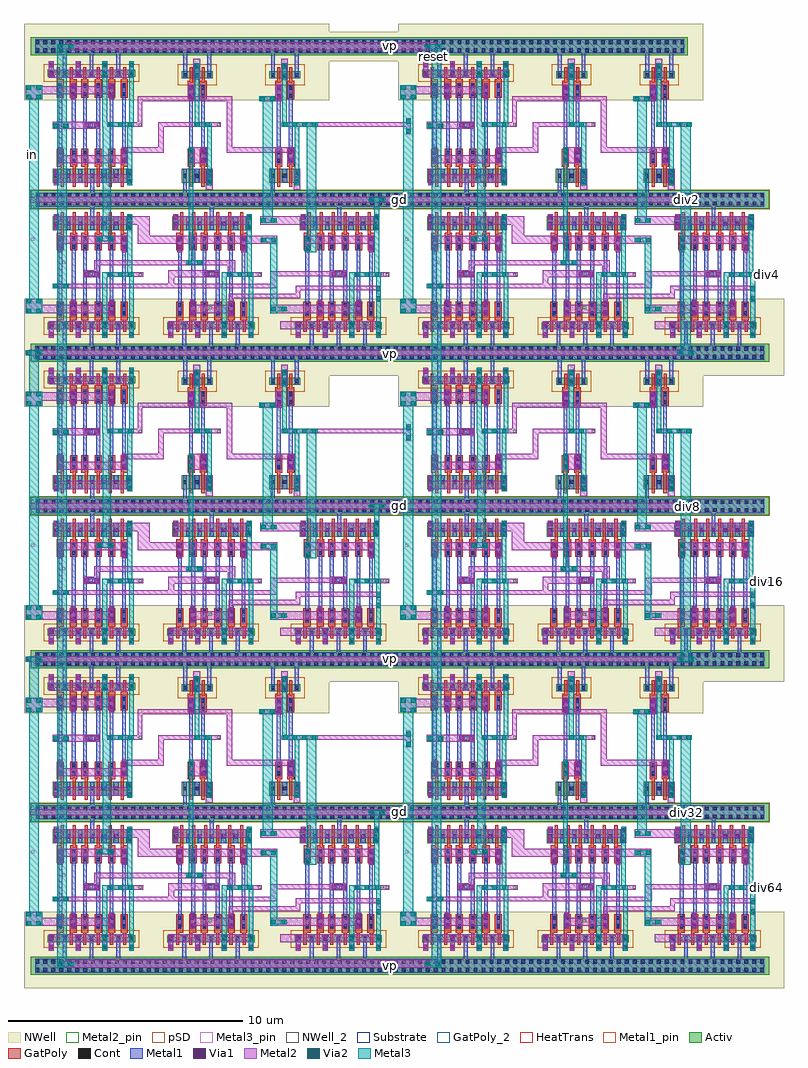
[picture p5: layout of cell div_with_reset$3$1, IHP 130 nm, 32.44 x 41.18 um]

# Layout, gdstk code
from math import pi, radians
import gdstk
lib = gdstk.Library(unit=1e-6, precision=1e-09)
def R(c, l, rs):  # rectangles x0, y0, x1, y1
    for r in rs: c.add(gdstk.rectangle(r[:2], r[2:], *l))
def A(c, l, x, y, w, h, nx, ny, dx, dy):  # array of equal rectangles
    R(c, l, [(x+i*dx, y+j*dy, x+i*dx+w, y+j*dy+h) for i in range(nx) for j in range(ny)])
Activ = (1, 0)
GatPoly = (5, 0)
GatPoly_2 = (5, 2)
Cont = (6, 0)
Metal1 = (8, 0)
Metal1_pin = (8, 2)
Metal2 = (10, 0)
Metal2_pin = (10, 2)
pSD = (14, 0)
Via1 = (19, 0)
Via2 = (29, 0)
Metal3 = (30, 0)
Metal3_pin = (30, 2)
NWell = (31, 0)
NWell_2 = (31, 2)
Substrate = (40, 0)
HeatTrans = (51, 0)

ntap1_38_2 = lib.new_cell('ntap1$38$2')
R(ntap1_38_2, Activ, [(0,0,7.8,0.78)])
A(ntap1_38_2, Cont, 0.08, 0.14, 0.16, 0.16, 23, 2, 0.34, 0.34)
R(ntap1_38_2, Metal1, [(0.08,0.09,7.72,0.69)])
R(ntap1_38_2, Metal1_pin, [(0.08,0.09,7.72,0.69), (0.08,0.14,7.72,0.64)])
R(ntap1_38_2, NWell, [(-0.24,-0.24,8.04,1.02), (0,0,7.8,0.78)])
R(ntap1_38_2, NWell_2, [(0,0,7.8,0.78)])
ntap1_38_2.add(gdstk.Label('well', (3.9,0.01), layer=63, texttype=0))
ntap1_38_2.add(gdstk.Label('well', (3.9,0.01), layer=31, texttype=0))

ptap1_8_3 = lib.new_cell('ptap1$8$3')
R(ptap1_8_3, Activ, [(0,0,7.8,0.78)])
A(ptap1_8_3, Cont, 0.08, 0.14, 0.16, 0.16, 23, 2, 0.34, 0.34)
R(ptap1_8_3, Metal1, [(0.08,0.09,7.72,0.69), (0.08,0.14,7.72,0.64)])
R(ptap1_8_3, Metal1_pin, [(0.08,0.14,7.72,0.64)])
R(ptap1_8_3, pSD, [(-0.03,-0.03,7.83,0.81)])
R(ptap1_8_3, Substrate, [(0,0,7.8,0.78)])
ptap1_8_3.add(gdstk.Label('sub!', (3.9,0.01), layer=63, texttype=0))
ptap1_8_3.add(gdstk.Label('sub!', (3.9,0.01), layer=40, texttype=0))

via_6_10_4 = lib.new_cell('Via$6$10$4')
R(via_6_10_4, Metal1, [(-0.105,-0.35,0.105,0.35)])
R(via_6_10_4, Metal2, [(-0.1,-0.35,0.1,0.35)])
R(via_6_10_4, Via1, [(-0.095,-0.3,0.095,-0.11), (-0.095,0.11,0.095,0.3)])

via_1_1_1_1 = lib.new_cell('Via$1$1$1$1')
R(via_1_1_1_1, Metal2, [(-0.1,-0.555,0.1,0.555)])
A(via_1_1_1_1, Via2, -0.095, -0.505, 0.19, 0.19, 1, 3, 0, 0.41)
R(via_1_1_1_1, Metal3, [(-0.1,-0.555,0.1,0.555)])

nmos_2_3_1 = lib.new_cell('nmos$2$3$1')
A(nmos_2_3_1, Activ, 0, 0, 0.3, 0.3, 7, 1, 0.51, 0)
R(nmos_2_3_1, Activ, [(0,0,3.36,0.6)])
A(nmos_2_3_1, GatPoly, 0.34, -0.18, 0.13, 0.96, 6, 1, 0.51, 0)
R(nmos_2_3_1, GatPoly_2, [(0.34,-0.18,0.47,0.78)])
A(nmos_2_3_1, Cont, 0.07, 0.22, 0.16, 0.16, 7, 1, 0.51, 0)
A(nmos_2_3_1, Metal1, 0.07, 0, 0.16, 0.6, 7, 1, 0.51, 0)
R(nmos_2_3_1, Metal1_pin, [(0.07,0,0.23,0.6), (0.58,0,0.74,0.6)])
A(nmos_2_3_1, HeatTrans, 0.34, -0.18, 0.13, 0.96, 6, 1, 0.51, 0)
nmos_2_3_1.add(gdstk.Label('nmos', (0.405,0.3), layer=63, texttype=0))
nmos_2_3_1.add(gdstk.Label('nmos', (0.405,0.3), layer=51, texttype=0))
nmos_2_3_1.add(gdstk.Label('nmos', (0.915,0.3), layer=51, texttype=0))
nmos_2_3_1.add(gdstk.Label('nmos', (1.425,0.3), layer=51, texttype=0))
nmos_2_3_1.add(gdstk.Label('nmos', (1.935,0.3), layer=51, texttype=0))
nmos_2_3_1.add(gdstk.Label('nmos', (2.445,0.3), layer=51, texttype=0))
nmos_2_3_1.add(gdstk.Label('nmos', (2.955,0.3), layer=51, texttype=0))

ntap1_6_1_1 = lib.new_cell('ntap1$6$1$1')
R(ntap1_6_1_1, Activ, [(0,0,5,0.78)])
A(ntap1_6_1_1, Cont, 0.21, 0.14, 0.16, 0.16, 14, 2, 0.34, 0.34)
R(ntap1_6_1_1, Metal1, [(0.21,0.09,4.79,0.69)])
R(ntap1_6_1_1, Metal1_pin, [(0.21,0.09,4.79,0.69), (0.21,0.14,4.79,0.64)])
R(ntap1_6_1_1, NWell, [(-0.24,-0.24,5.24,1.02), (0,0,5,0.78)])
R(ntap1_6_1_1, NWell_2, [(0,0,5,0.78)])
ntap1_6_1_1.add(gdstk.Label('well', (2.5,0.01), layer=63, texttype=0))
ntap1_6_1_1.add(gdstk.Label('well', (2.5,0.01), layer=31, texttype=0))

ptap1_2_5_1 = lib.new_cell('ptap1$2$5$1')
R(ptap1_2_5_1, Activ, [(0,0,5,0.78)])
A(ptap1_2_5_1, Cont, 0.21, 0.14, 0.16, 0.16, 14, 2, 0.34, 0.34)
R(ptap1_2_5_1, Metal1, [(0.21,0.09,4.79,0.69), (0.21,0.14,4.79,0.64)])
R(ptap1_2_5_1, Metal1_pin, [(0.21,0.14,4.79,0.64)])
R(ptap1_2_5_1, pSD, [(-0.03,-0.03,5.03,0.81)])
R(ptap1_2_5_1, Substrate, [(0,0,5,0.78)])
ptap1_2_5_1.add(gdstk.Label('sub!', (2.5,0.01), layer=63, texttype=0))
ptap1_2_5_1.add(gdstk.Label('sub!', (2.5,0.01), layer=40, texttype=0))

via_2_1_1_1 = lib.new_cell('Via$2$1$1$1')
R(via_2_1_1_1, Metal2, [(-0.1,-0.35,0.1,0.35)])
R(via_2_1_1_1, Via2, [(-0.095,-0.3,0.095,-0.11), (-0.095,0.11,0.095,0.3)])
R(via_2_1_1_1, Metal3, [(-0.1,-0.35,0.1,0.35)])

via_3_1_1_1 = lib.new_cell('Via$3$1$1$1')
R(via_3_1_1_1, GatPoly, [(-0.32,-0.15,0.32,0.15)])
R(via_3_1_1_1, Cont, [(-0.25,-0.08,-0.09,0.08), (0.09,-0.08,0.25,0.08)])
R(via_3_1_1_1, Metal1, [(-0.3,-0.08,0.3,0.08)])

pmos_2_4_2 = lib.new_cell('pmos$2$4$2')
A(pmos_2_4_2, Activ, 0, 0, 0.3, 0.3, 7, 1, 0.57, 0)
R(pmos_2_4_2, Activ, [(0,0.075,3.72,0.225)])
A(pmos_2_4_2, GatPoly, 0.37, -0.105, 0.13, 0.51, 6, 1, 0.57, 0)
R(pmos_2_4_2, GatPoly, [(0.37,-0.105,0.5,0.405)])
A(pmos_2_4_2, Cont, 0.07, 0.07, 0.16, 0.16, 7, 1, 0.57, 0)
A(pmos_2_4_2, Metal1, 0.64, 0.02, 0.16, 0.26, 6, 1, 0.57, 0)
R(pmos_2_4_2, Metal1, [(0.07,0.02,0.23,0.28), (0.07,0.02,0.23,0.28), (0.64,0.02,0.8,0.28)])
R(pmos_2_4_2, pSD, [(-0.18,-0.225,3.9,0.525)])
R(pmos_2_4_2, NWell, [(-0.31,-0.31,4.03,0.61)])
A(pmos_2_4_2, HeatTrans, 0.37, -0.105, 0.13, 0.51, 6, 1, 0.57, 0)
pmos_2_4_2.add(gdstk.Label('pmos', (0.435,0.15), layer=63, texttype=0))
pmos_2_4_2.add(gdstk.Label('pmos', (0.435,0.15), layer=51, texttype=0))
pmos_2_4_2.add(gdstk.Label('pmos', (1.005,0.15), layer=51, texttype=0))
pmos_2_4_2.add(gdstk.Label('pmos', (1.575,0.15), layer=51, texttype=0))
pmos_2_4_2.add(gdstk.Label('pmos', (2.145,0.15), layer=51, texttype=0))
pmos_2_4_2.add(gdstk.Label('pmos', (2.715,0.15), layer=51, texttype=0))
pmos_2_4_2.add(gdstk.Label('pmos', (3.285,0.15), layer=51, texttype=0))

nand_3in_nmosx3_1_1_2 = lib.new_cell('NAND_3in_nmosx3$1$1$2')
A(nand_3in_nmosx3_1_1_2, GatPoly, -0.54, -2.93, 0.3, 0.11, 3, 1, 0.57, 0)
A(nand_3in_nmosx3_1_1_2, GatPoly, -0.54, 0.655, 0.3, 0.15, 3, 1, 0.57, 0)
R(nand_3in_nmosx3_1_1_2, GatPoly, [(-1.585,-2.93,-1.285,-2.82), (-1.02,-2.93,-0.72,-2.82), (1.135,-2.93,1.435,-2.82), (-1.6,0.655,-1.3,0.805), (-1.035,0.655,-0.735,0.805), (1.13,0.655,1.43,0.805), (0.68,0.755,0.81,0.845), (1.22,0.755,1.35,0.845)])
R(nand_3in_nmosx3_1_1_2, Metal1, [(-0.155,-4.075,0.005,-3.295), (0.31,-3.6,0.55,-3.34), (0.82,-3.6,1.06,-3.34), (0.31,-3.36,0.55,-3.02), (0.82,-3.36,1.06,-3.02), (-1.515,-2.44,-1.355,0.56), (-0.95,-2.44,-0.79,0.05), (0.67,-2.44,0.83,0.05), (-0.47,-2.38,-0.31,0.175), (0.1,-2.38,0.26,0.245), (1.2,-2.21,1.36,-1.27), (1.2,-1.31,1.36,-0.37), (1.2,-0.455,1.36,0.075), (0.95,1.005,1.11,2.015), (-1.33,1.07,-1.17,2.065), (-0.19,1.075,-0.03,2.065)])
R(nand_3in_nmosx3_1_1_2, Metal1_pin, [(0.44,-4.33,0.57,-4.2), (0.74,2.225,0.87,2.355)])
R(nand_3in_nmosx3_1_1_2, Metal2, [(-1.685,-3.62,1.605,-3.27), (-1.475,-2.795,1.395,-2.445), (-0.45,-1.315,0.25,-1.015), (1.62,-1.24,2.05,-1.04), (-0.895,0.155,0.83,0.505), (-1.925,0.855,1.7,1.205)])
R(nand_3in_nmosx3_1_1_2, Metal2_pin, [(-1.495,-2.31,-1.365,-2.18), (1.225,-2.31,1.355,-2.18), (-0.175,-1.235,-0.045,-1.105), (1.905,-1.205,2.035,-1.075), (-0.955,0.005,-0.825,0.135), (-0.955,0.005,-0.825,0.135), (0.69,0.005,0.82,0.135), (0.69,0.005,0.82,0.135)])
R(nand_3in_nmosx3_1_1_2, Metal3, [(1.425,-3.03,1.625,-2.83), (1.425,-2.83,1.625,-2.425), (1.425,-2.5,1.625,-1.15), (0.36,-1.24,0.56,-0.97), (0.38,-1.24,0.565,-1.04), (1.66,-1.24,1.7,-1.09), (1.5,-1.09,1.7,0.17), (0.36,-0.97,0.56,0.26), (1.5,0.045,1.7,1.02), (0.36,0.155,0.56,0.855)])
R(nand_3in_nmosx3_1_1_2, NWell, [(-2.99,-0.1,2.93,3.17)])
nand_3in_nmosx3_1_1_2.add(gdstk.Reference(via_6_10_4, (1.285,-2.45), rotation=pi))
nand_3in_nmosx3_1_1_2.add(gdstk.Reference(via_6_10_4, (0.75,0.285), rotation=pi))
nand_3in_nmosx3_1_1_2.add(gdstk.Reference(via_6_10_4, (0.46,1.205), rotation=pi))
nand_3in_nmosx3_1_1_2.add(gdstk.Reference(via_6_10_4, (1.6,1.205), rotation=pi))
nand_3in_nmosx3_1_1_2.add(gdstk.Reference(via_1_1_1_1, (1.12,-1.14), rotation=3*pi/2))
nand_3in_nmosx3_1_1_2.add(gdstk.Reference(nmos_2_3_1, (1.605,-3.02), rotation=pi))
nand_3in_nmosx3_1_1_2.add(gdstk.Reference(ntap1_6_1_1, (-2.71,1.81)))
nand_3in_nmosx3_1_1_2.add(gdstk.Reference(ptap1_2_5_1, (-2.7,-4.73)))
nand_3in_nmosx3_1_1_2.add(gdstk.Reference(via_2_1_1_1, (1.525,-3.37), rotation=pi))
nand_3in_nmosx3_1_1_2.add(gdstk.Reference(via_2_1_1_1, (0.46,1.205), rotation=pi))
nand_3in_nmosx3_1_1_2.add(gdstk.Reference(via_2_1_1_1, (1.6,1.205), rotation=pi))
nand_3in_nmosx3_1_1_2.add(gdstk.Reference(via_3_1_1_1, (0.75,-2.5), rotation=3*pi/2))
nand_3in_nmosx3_1_1_2.add(gdstk.Reference(via_3_1_1_1, (1.285,-2.5), rotation=3*pi/2))
nand_3in_nmosx3_1_1_2.add(gdstk.Reference(via_3_1_1_1, (0.75,0.335), rotation=3*pi/2))
nand_3in_nmosx3_1_1_2.add(gdstk.Reference(via_3_1_1_1, (1.28,0.335), rotation=3*pi/2))
nand_3in_nmosx3_1_1_2.add(gdstk.Reference(pmos_2_4_2, (1.75,1.205), rotation=pi))
nand_3in_nmosx3_1_1_2.add(gdstk.Reference(via_3_1_1_1, (0.18,0.335), rotation=3*pi/2))
nand_3in_nmosx3_1_1_2.add(gdstk.Reference(via_3_1_1_1, (0.18,-2.5), rotation=3*pi/2))
nand_3in_nmosx3_1_1_2.add(gdstk.Reference(via_3_1_1_1, (-0.39,0.335), rotation=3*pi/2))
nand_3in_nmosx3_1_1_2.add(gdstk.Reference(via_3_1_1_1, (-0.39,-2.5), rotation=3*pi/2))
nand_3in_nmosx3_1_1_2.add(gdstk.Reference(via_6_10_4, (-0.1,-1.165), rotation=3*pi/2))
nand_3in_nmosx3_1_1_2.add(gdstk.Reference(via_6_10_4, (-0.68,1.205), rotation=pi))
nand_3in_nmosx3_1_1_2.add(gdstk.Reference(via_6_10_4, (-1.825,1.205), rotation=pi))
nand_3in_nmosx3_1_1_2.add(gdstk.Reference(via_6_10_4, (0.75,0.285), rotation=pi))
nand_3in_nmosx3_1_1_2.add(gdstk.Reference(via_3_1_1_1, (0.75,0.335), rotation=3*pi/2))
nand_3in_nmosx3_1_1_2.add(gdstk.Reference(via_3_1_1_1, (-0.885,0.335), rotation=3*pi/2))
nand_3in_nmosx3_1_1_2.add(gdstk.Reference(via_6_10_4, (-0.895,0.285), rotation=pi))
nand_3in_nmosx3_1_1_2.add(gdstk.Reference(via_3_1_1_1, (-0.885,0.335), rotation=3*pi/2))
nand_3in_nmosx3_1_1_2.add(gdstk.Reference(via_6_10_4, (-0.895,0.285), rotation=pi))
nand_3in_nmosx3_1_1_2.add(gdstk.Reference(via_3_1_1_1, (-0.87,-2.5), rotation=3*pi/2))
nand_3in_nmosx3_1_1_2.add(gdstk.Reference(via_6_10_4, (-1.435,-2.45), rotation=pi))
nand_3in_nmosx3_1_1_2.add(gdstk.Reference(via_3_1_1_1, (-1.435,-2.5), rotation=3*pi/2))
nand_3in_nmosx3_1_1_2.add(gdstk.Reference(via_3_1_1_1, (-1.45,0.335), rotation=3*pi/2))
nand_3in_nmosx3_1_1_2.add(gdstk.Reference(via_6_10_4, (-1.61,-3.37), rotation=pi))
nand_3in_nmosx3_1_1_2.add(gdstk.Reference(via_6_10_4, (1.525,-3.37), rotation=pi))
nand_3in_nmosx3_1_1_2.add(gdstk.Label('GND', (0.505,-4.26), layer=8, texttype=25))
nand_3in_nmosx3_1_1_2.add(gdstk.Label('VP', (0.8,2.285), layer=8, texttype=25))
nand_3in_nmosx3_1_1_2.add(gdstk.Label('a', (-1.435,-2.25), layer=10, texttype=25))
nand_3in_nmosx3_1_1_2.add(gdstk.Label('a', (1.285,-2.25), layer=10, texttype=25))
nand_3in_nmosx3_1_1_2.add(gdstk.Label('b', (0.76,0.095), layer=10, texttype=25))
nand_3in_nmosx3_1_1_2.add(gdstk.Label('b', (-0.885,0.095), layer=10, texttype=25))
nand_3in_nmosx3_1_1_2.add(gdstk.Label('b', (-0.885,0.095), layer=10, texttype=25))
nand_3in_nmosx3_1_1_2.add(gdstk.Label('b', (0.76,0.095), layer=10, texttype=25))
nand_3in_nmosx3_1_1_2.add(gdstk.Label('c', (-0.11,-1.175), layer=10, texttype=25))
nand_3in_nmosx3_1_1_2.add(gdstk.Label('y', (1.97,-1.14), layer=10, texttype=25))

ptap1_5_1_1 = lib.new_cell('ptap1$5$1$1')
R(ptap1_5_1_1, Activ, [(0,0,1.7,0.78)])
A(ptap1_5_1_1, Cont, 0.09, 0.14, 0.16, 0.16, 5, 2, 0.34, 0.34)
R(ptap1_5_1_1, Metal1, [(0.09,0.09,1.61,0.69), (0.09,0.14,1.61,0.64)])
R(ptap1_5_1_1, Metal1_pin, [(0.09,0.14,1.61,0.64)])
R(ptap1_5_1_1, pSD, [(-0.03,-0.03,1.73,0.81)])
R(ptap1_5_1_1, Substrate, [(0,0,1.7,0.78)])
ptap1_5_1_1.add(gdstk.Label('sub!', (0.85,0.01), layer=63, texttype=0))
ptap1_5_1_1.add(gdstk.Label('sub!', (0.85,0.01), layer=40, texttype=0))

ntap1_2_10_1 = lib.new_cell('ntap1$2$10$1')
R(ntap1_2_10_1, Activ, [(0,0,1.7,0.78)])
A(ntap1_2_10_1, Cont, 0.09, 0.14, 0.16, 0.16, 5, 2, 0.34, 0.34)
R(ntap1_2_10_1, Metal1, [(0.09,0.09,1.61,0.69)])
R(ntap1_2_10_1, Metal1_pin, [(0.09,0.09,1.61,0.69), (0.09,0.14,1.61,0.64)])
R(ntap1_2_10_1, NWell, [(-0.24,-0.24,1.94,1.02), (0,0,1.7,0.78)])
R(ntap1_2_10_1, NWell_2, [(0,0,1.7,0.78)])
ntap1_2_10_1.add(gdstk.Label('well', (0.85,0.01), layer=63, texttype=0))
ntap1_2_10_1.add(gdstk.Label('well', (0.85,0.01), layer=31, texttype=0))

ntap1_9_1_1 = lib.new_cell('ntap1$9$1$1')
R(ntap1_9_1_1, Activ, [(0,0,2.4,0.78)])
A(ntap1_9_1_1, Cont, 0.1, 0.14, 0.16, 0.16, 7, 2, 0.34, 0.34)
R(ntap1_9_1_1, Metal1, [(0.1,0.09,2.3,0.69)])
R(ntap1_9_1_1, Metal1_pin, [(0.1,0.09,2.3,0.69), (0.1,0.14,2.3,0.64)])
R(ntap1_9_1_1, NWell, [(-0.24,-0.24,2.64,1.02), (0,0,2.4,0.78)])
R(ntap1_9_1_1, NWell_2, [(0,0,2.4,0.78)])
ntap1_9_1_1.add(gdstk.Label('well', (1.2,0.01), layer=63, texttype=0))
ntap1_9_1_1.add(gdstk.Label('well', (1.2,0.01), layer=31, texttype=0))

ntap1_7_1_2 = lib.new_cell('ntap1$7$1$2')
R(ntap1_7_1_2, Activ, [(0,0,2.5,0.78)])
A(ntap1_7_1_2, Cont, 0.15, 0.14, 0.16, 0.16, 7, 2, 0.34, 0.34)
R(ntap1_7_1_2, Metal1, [(0.15,0.09,2.35,0.69)])
R(ntap1_7_1_2, Metal1_pin, [(0.15,0.09,2.35,0.69), (0.15,0.14,2.35,0.64)])
R(ntap1_7_1_2, NWell, [(-0.24,-0.24,2.74,1.02), (0,0,2.5,0.78)])
R(ntap1_7_1_2, NWell_2, [(0,0,2.5,0.78)])
ntap1_7_1_2.add(gdstk.Label('well', (1.25,0.01), layer=63, texttype=0))
ntap1_7_1_2.add(gdstk.Label('well', (1.25,0.01), layer=31, texttype=0))

ptap1_4_2_1 = lib.new_cell('ptap1$4$2$1')
R(ptap1_4_2_1, Activ, [(0,0,2.5,0.78)])
A(ptap1_4_2_1, Cont, 0.15, 0.14, 0.16, 0.16, 7, 2, 0.34, 0.34)
R(ptap1_4_2_1, Metal1, [(0.15,0.09,2.35,0.69), (0.15,0.14,2.35,0.64)])
R(ptap1_4_2_1, Metal1_pin, [(0.15,0.14,2.35,0.64)])
R(ptap1_4_2_1, pSD, [(-0.03,-0.03,2.53,0.81)])
R(ptap1_4_2_1, Substrate, [(0,0,2.5,0.78)])
ptap1_4_2_1.add(gdstk.Label('sub!', (1.25,0.01), layer=63, texttype=0))
ptap1_4_2_1.add(gdstk.Label('sub!', (1.25,0.01), layer=40, texttype=0))

via_7_10_2 = lib.new_cell('Via$7$10$2')
R(via_7_10_2, Metal2, [(-0.1,-0.35,0.1,0.35)])
R(via_7_10_2, Via2, [(-0.095,-0.3,0.095,-0.11), (-0.095,0.11,0.095,0.3)])
R(via_7_10_2, Metal3, [(-0.1,-0.35,0.1,0.35)])

via_1_2_1_1 = lib.new_cell('Via$1$2$1$1')
R(via_1_2_1_1, Metal1, [(-0.105,-0.35,0.105,0.35)])
R(via_1_2_1_1, Metal2, [(-0.1,-0.35,0.1,0.35)])
R(via_1_2_1_1, Via1, [(-0.095,-0.3,0.095,-0.11), (-0.095,0.11,0.095,0.3)])

via_2_2_1_1 = lib.new_cell('Via$2$2$1$1')
R(via_2_2_1_1, GatPoly, [(-0.32,-0.15,0.32,0.15)])
R(via_2_2_1_1, Cont, [(-0.25,-0.08,-0.09,0.08), (0.09,-0.08,0.25,0.08)])
R(via_2_2_1_1, Metal1, [(-0.3,-0.08,0.3,0.08)])

pmos_3_3_1 = lib.new_cell('pmos$3$3$1')
A(pmos_3_3_1, Activ, 0, 0, 0.3, 0.3, 3, 1, 0.51, 0)
R(pmos_3_3_1, Activ, [(0,0,1.32,0.3)])
R(pmos_3_3_1, GatPoly, [(0.34,-0.18,0.47,0.48), (0.34,-0.18,0.47,0.48), (0.85,-0.18,0.98,0.48)])
A(pmos_3_3_1, Cont, 0.07, 0.07, 0.16, 0.16, 3, 1, 0.51, 0)
R(pmos_3_3_1, Metal1, [(0.07,0,0.23,0.3), (0.07,0,0.23,0.3), (0.58,0,0.74,0.3), (0.58,0,0.74,0.3), (1.09,0,1.25,0.3)])
R(pmos_3_3_1, pSD, [(-0.18,-0.3,1.5,0.6)])
R(pmos_3_3_1, NWell, [(-0.31,-0.31,1.63,0.61)])
R(pmos_3_3_1, HeatTrans, [(0.34,-0.18,0.47,0.48), (0.85,-0.18,0.98,0.48)])
pmos_3_3_1.add(gdstk.Label('pmos', (0.405,0.15), layer=63, texttype=0))
pmos_3_3_1.add(gdstk.Label('pmos', (0.405,0.15), layer=51, texttype=0))
pmos_3_3_1.add(gdstk.Label('pmos', (0.915,0.15), layer=51, texttype=0))

nmos_3_1_4 = lib.new_cell('nmos$3$1$4')
A(nmos_3_1_4, Activ, 0, 0, 0.3, 0.3, 3, 1, 0.51, 0)
R(nmos_3_1_4, Activ, [(0,0,1.32,0.6)])
R(nmos_3_1_4, GatPoly, [(0.34,-0.18,0.47,0.78), (0.85,-0.18,0.98,0.78)])
R(nmos_3_1_4, GatPoly_2, [(0.34,-0.18,0.47,0.78)])
A(nmos_3_1_4, Cont, 0.07, 0.22, 0.16, 0.16, 3, 1, 0.51, 0)
A(nmos_3_1_4, Metal1, 0.07, 0, 0.16, 0.6, 3, 1, 0.51, 0)
R(nmos_3_1_4, Metal1_pin, [(0.07,0,0.23,0.6), (0.58,0,0.74,0.6)])
R(nmos_3_1_4, HeatTrans, [(0.34,-0.18,0.47,0.78), (0.85,-0.18,0.98,0.78)])
nmos_3_1_4.add(gdstk.Label('nmos', (0.405,0.3), layer=63, texttype=0))
nmos_3_1_4.add(gdstk.Label('nmos', (0.405,0.3), layer=51, texttype=0))
nmos_3_1_4.add(gdstk.Label('nmos', (0.915,0.3), layer=51, texttype=0))

nand_2in_nmosx2_1_1_4 = lib.new_cell('NAND_2in_nmosx2$1$1$4')
R(nand_2in_nmosx2_1_1_4, GatPoly, [(0.63,-2.93,0.93,-2.82), (1.15,-2.93,1.45,-2.82), (0.645,0.58,0.945,0.73), (1.145,0.58,1.445,0.73), (0.725,0.68,0.855,0.77)])
R(nand_2in_nmosx2_1_1_4, Metal1, [(0.445,-4.32,0.605,-3.295), (0.915,-3.6,1.155,-3.34), (0.915,-3.36,1.155,-3.02), (0.7,-2.68,0.86,0.26), (1.215,-2.21,1.375,-1.27), (1.215,-1.31,1.375,-0.37), (1.215,-0.37,1.375,-0.01), (0.455,1.01,0.615,1.15), (0.455,1.115,0.615,1.99), (1.475,1.115,1.635,1.94)])
R(nand_2in_nmosx2_1_1_4, Metal1_pin, [(0.44,-4.32,0.57,-4.19), (0.4,2.15,0.53,2.28)])
R(nand_2in_nmosx2_1_1_4, Metal2, [(1.415,-3.92,1.705,-3.72), (1.415,-3.72,1.705,-3.02), (1.15,-2.8,1.45,-2.1), (1.62,-1.24,2.05,-1.04), (0.645,-0.14,0.945,0.56), (0.88,0.78,1.17,0.98), (0.88,0.98,1.17,1.68)])
R(nand_2in_nmosx2_1_1_4, Metal2_pin, [(1.24,-2.27,1.37,-2.14), (1.905,-1.205,2.035,-1.075), (0.735,-0.1,0.865,0.03)])
R(nand_2in_nmosx2_1_1_4, Metal3, [(1.465,-3.03,1.665,-2.83), (1.465,-2.905,1.665,-1.045), (0.93,-1.09,1.13,0.17), (0.93,0.1,1.13,0.62), (0.93,0.62,1.13,0.72), (0.93,0.71,1.13,0.87)])
R(nand_2in_nmosx2_1_1_4, NWell, [(-0.85,-0.1,2.93,3.17)])
nand_2in_nmosx2_1_1_4.add(gdstk.Reference(ntap1_7_1_2, (-0.23,1.81)))
nand_2in_nmosx2_1_1_4.add(gdstk.Reference(ptap1_4_2_1, (-0.22,-4.73)))
nand_2in_nmosx2_1_1_4.add(gdstk.Reference(via_7_10_2, (1.27,-1.14), rotation=3*pi/2))
nand_2in_nmosx2_1_1_4.add(gdstk.Reference(via_1_2_1_1, (1.565,-3.37), rotation=pi))
nand_2in_nmosx2_1_1_4.add(gdstk.Reference(via_1_2_1_1, (1.3,-2.45), rotation=pi))
nand_2in_nmosx2_1_1_4.add(gdstk.Reference(via_1_2_1_1, (0.795,0.21), rotation=pi))
nand_2in_nmosx2_1_1_4.add(gdstk.Reference(via_1_2_1_1, (1.03,1.13), rotation=pi))
nand_2in_nmosx2_1_1_4.add(gdstk.Reference(via_2_2_1_1, (1.3,-2.5), rotation=3*pi/2))
nand_2in_nmosx2_1_1_4.add(gdstk.Reference(via_2_2_1_1, (0.795,0.26), rotation=3*pi/2))
nand_2in_nmosx2_1_1_4.add(gdstk.Reference(via_2_2_1_1, (1.295,0.26), rotation=3*pi/2))
nand_2in_nmosx2_1_1_4.add(gdstk.Reference(via_7_10_2, (1.565,-3.37), rotation=pi))
nand_2in_nmosx2_1_1_4.add(gdstk.Reference(via_7_10_2, (1.03,1.13), rotation=pi))
nand_2in_nmosx2_1_1_4.add(gdstk.Reference(pmos_3_3_1, (1.705,1.13), rotation=pi))
nand_2in_nmosx2_1_1_4.add(gdstk.Reference(via_2_2_1_1, (0.78,-2.5), rotation=3*pi/2))
nand_2in_nmosx2_1_1_4.add(gdstk.Reference(nmos_3_1_4, (1.695,-3.02), rotation=pi))
nand_2in_nmosx2_1_1_4.add(gdstk.Label('GND', (0.505,-4.25), layer=8, texttype=25))
nand_2in_nmosx2_1_1_4.add(gdstk.Label('VP', (0.46,2.21), layer=8, texttype=25))
nand_2in_nmosx2_1_1_4.add(gdstk.Label('b', (0.795,-0.04), layer=10, texttype=25))
nand_2in_nmosx2_1_1_4.add(gdstk.Label('a', (1.3,-2.21), layer=10, texttype=25))
nand_2in_nmosx2_1_1_4.add(gdstk.Label('y', (1.97,-1.14), layer=10, texttype=25))

ntap1_4_1_4 = lib.new_cell('ntap1$4$1$4')
R(ntap1_4_1_4, Activ, [(0,0,2.2,0.78)])
A(ntap1_4_1_4, Cont, 0.17, 0.14, 0.16, 0.16, 6, 2, 0.34, 0.34)
R(ntap1_4_1_4, Metal1, [(0.17,0.09,2.03,0.69)])
R(ntap1_4_1_4, Metal1_pin, [(0.17,0.09,2.03,0.69), (0.17,0.14,2.03,0.64)])
R(ntap1_4_1_4, NWell, [(-0.24,-0.24,2.44,1.02), (0,0,2.2,0.78)])
R(ntap1_4_1_4, NWell_2, [(0,0,2.2,0.78)])
ntap1_4_1_4.add(gdstk.Label('well', (1.1,0.01), layer=63, texttype=0))
ntap1_4_1_4.add(gdstk.Label('well', (1.1,0.01), layer=31, texttype=0))

via_23_1 = lib.new_cell('Via$23$1')
R(via_23_1, Metal2, [(-0.35,-0.1,0.35,0.1)])
R(via_23_1, Via2, [(-0.3,-0.095,-0.11,0.095), (0.11,-0.095,0.3,0.095)])
R(via_23_1, Metal3, [(-0.35,-0.1,0.35,0.1)])

via_1_4_1 = lib.new_cell('Via$1$4$1')
R(via_1_4_1, Metal2, [(-0.35,-0.305,0.35,0.305)])
R(via_1_4_1, Via2, [(-0.3,-0.3,-0.11,-0.11), (0.11,-0.3,0.3,-0.11), (-0.3,0.11,-0.11,0.3), (0.11,0.11,0.3,0.3)])
R(via_1_4_1, Metal3, [(-0.35,-0.305,0.35,0.305)])

d_flip_flop_reset_1_1 = lib.new_cell('d_flip_flop_reset$1$1')
R(d_flip_flop_reset_1_1, Metal1_pin, [(4.345,-7.965,4.475,-7.835), (-0.13,-7.955,0,-7.825), (0.19,-1.45,0.32,-1.32), (-0.775,5.135,-0.645,5.265)])
R(d_flip_flop_reset_1_1, Metal2, [(6.64,-6.885,7.635,-6.535), (-3.98,-6.185,-1.905,-5.835), (6.215,-6.185,8.6,-5.835), (-2.955,-5.135,2.105,-4.935), (1.865,-5.135,2.105,-4.585), (2,-5.135,6.515,-4.935), (6.21,-5.135,6.515,-4.52), (1.865,-4.665,3.56,-4.365), (0.62,-4.64,0.8,-4.44), (4.405,-4.64,4.725,-4.025), (6.21,-4.61,9.48,-4.41), (-1.3,-4.51,-1.06,-3.96), (-1.3,-4.15,4.725,-3.92), (0.545,-3.235,2.615,-2.885), (0.545,-3.235,1.075,-2.06), (4.86,-3.235,6.5,-2.885), (0.015,-2.41,1.075,-2.06), (5.78,-2.41,8.05,-2.06), (2.86,0.2,3.25,0.9), (-0.125,0.535,0.085,0.735), (-0.125,0.65,1.66,0.9), (1.43,0.65,1.66,1.96), (4.345,0.66,7.05,0.9), (4.345,0.9,4.585,3.06), (-3.08,1.685,-1.76,1.985), (0.55,1.76,0.75,3.058), (1.66,1.76,3.02,1.96), (0.55,2.86,4.535,3.06), (-3.98,3.155,-1.905,3.505)])
R(d_flip_flop_reset_1_1, Metal2_pin, [(3.58,-6.03,3.71,-5.9), (10.93,-4.58,11.06,-4.45), (7.905,1.77,8.035,1.9)])
R(d_flip_flop_reset_1_1, Metal3, [(6.215,-6.185,6.5,-2.96), (-4.085,-5.99,-3.675,3.04), (-2.885,-5.135,-2.475,1.81), (2.73,-4.015,2.93,0.215), (7.76,-3.58,8.17,1.96), (-0.93,-3.115,-0.6,1.96), (5.9,-2.285,6.31,3.02), (7.405,1.76,7.725,1.96)])
R(d_flip_flop_reset_1_1, Metal3_pin, [(-2.66,-4.08,-2.53,-3.95), (-4,-3.09,-3.87,-2.96)])
d_flip_flop_reset_1_1.add(gdstk.Reference(nand_3in_nmosx3_1_1_2, (-1.31,3)))
d_flip_flop_reset_1_1.add(gdstk.Reference(ptap1_5_1_1, (0.53,-1.73)))
d_flip_flop_reset_1_1.add(gdstk.Reference(ptap1_5_1_1, (3.93,-1.73)))
d_flip_flop_reset_1_1.add(gdstk.Reference(nand_3in_nmosx3_1_1_2, (-1.31,-5.68), x_reflection=True))
d_flip_flop_reset_1_1.add(gdstk.Reference(nand_3in_nmosx3_1_1_2, (3.79,-5.68), x_reflection=True))
d_flip_flop_reset_1_1.add(gdstk.Reference(ntap1_2_10_1, (0.52,4.81)))
d_flip_flop_reset_1_1.add(gdstk.Reference(ntap1_2_10_1, (0.52,-8.27)))
d_flip_flop_reset_1_1.add(gdstk.Reference(ntap1_9_1_1, (4.93,-8.27)))
d_flip_flop_reset_1_1.add(gdstk.Reference(nand_3in_nmosx3_1_1_2, (9.23,-5.68), x_reflection=True))
d_flip_flop_reset_1_1.add(gdstk.Reference(nand_2in_nmosx2_1_1_4, (5.79,3)))
d_flip_flop_reset_1_1.add(gdstk.Reference(ntap1_4_1_4, (3.84,4.81)))
d_flip_flop_reset_1_1.add(gdstk.Reference(ntap1_2_10_1, (-3.9,-8.27)))
d_flip_flop_reset_1_1.add(gdstk.Reference(nand_2in_nmosx2_1_1_4, (2.05,3)))
d_flip_flop_reset_1_1.add(gdstk.Reference(via_23_1, (-0.825,-3.025)))
d_flip_flop_reset_1_1.add(gdstk.Reference(via_23_1, (2.98,-4.02)))
d_flip_flop_reset_1_1.add(gdstk.Reference(via_23_1, (2.83,0.55), rotation=pi/2))
d_flip_flop_reset_1_1.add(gdstk.Reference(via_23_1, (6.15,-3.06)))
d_flip_flop_reset_1_1.add(gdstk.Reference(via_23_1, (6.56,-6.015)))
d_flip_flop_reset_1_1.add(gdstk.Reference(via_1_4_1, (-3.88,-5.88)))
d_flip_flop_reset_1_1.add(gdstk.Reference(via_1_4_1, (-3.88,3.24)))
d_flip_flop_reset_1_1.add(gdstk.Reference(via_23_1, (-2.73,-5.035)))
d_flip_flop_reset_1_1.add(gdstk.Reference(via_23_1, (-2.73,1.81)))
d_flip_flop_reset_1_1.add(gdstk.Reference(via_23_1, (6.13,-2.24)))
d_flip_flop_reset_1_1.add(gdstk.Reference(via_23_1, (6.085,2.96)))
d_flip_flop_reset_1_1.add(gdstk.Reference(via_23_1, (7.88,1.86)))
d_flip_flop_reset_1_1.add(gdstk.Reference(via_23_1, (7.8,-3.23), rotation=3*pi/2))
d_flip_flop_reset_1_1.add(gdstk.Label('VP', (4.41,-7.9), layer=8, texttype=25))
d_flip_flop_reset_1_1.add(gdstk.Label('VP', (-0.71,5.2), layer=8, texttype=25))
d_flip_flop_reset_1_1.add(gdstk.Label('VP', (-0.065,-7.89), layer=8, texttype=25))
d_flip_flop_reset_1_1.add(gdstk.Label('GND', (0.255,-1.385), layer=8, texttype=25))
d_flip_flop_reset_1_1.add(gdstk.Label('d', (3.645,-5.965), layer=10, texttype=25))
d_flip_flop_reset_1_1.add(gdstk.Label('q_', (10.995,-4.515), layer=10, texttype=25))
d_flip_flop_reset_1_1.add(gdstk.Label('q', (7.97,1.835), layer=10, texttype=25))
d_flip_flop_reset_1_1.add(gdstk.Label('clk', (-3.935,-3.025), layer=30, texttype=25))
d_flip_flop_reset_1_1.add(gdstk.Label('reset', (-2.595,-4.015), layer=30, texttype=25))

via_22_1_1 = lib.new_cell('Via$22$1$1')
R(via_22_1_1, Metal2, [(-0.1,-0.35,0.1,0.35)])
R(via_22_1_1, Via2, [(-0.095,-0.3,0.095,-0.11), (-0.095,0.11,0.095,0.3)])
R(via_22_1_1, Metal3, [(-0.1,-0.35,0.1,0.35)])

via_25_1_1 = lib.new_cell('Via$25$1$1')
R(via_25_1_1, Metal2, [(-0.35,-0.1,0.35,0.1)])
R(via_25_1_1, Via2, [(-0.3,-0.095,-0.11,0.095), (0.11,-0.095,0.3,0.095)])
R(via_25_1_1, Metal3, [(-0.35,-0.1,0.35,0.1)])

div_with_reset_3_1 = lib.new_cell('div_with_reset$3$1')
R(div_with_reset_3_1, Metal1_pin, [(11.26,-34.12,11.45,-33.96), (11.64,-27.54,11.83,-27.38), (11.26,-21.01,11.45,-20.85), (11.64,-14.49,11.83,-14.33), (11.26,-8.01,11.45,-7.85), (11.64,-1.42,11.83,-1.26), (11.26,5.17,11.45,5.33)])
A(div_with_reset_3_1, Metal2, 27.26, -30.8, 0.25, 0.2, 1, 3, 0, 13.08)
A(div_with_reset_3_1, Metal2, -4.08, -27.63, 28.235, 0.26, 1, 5, 0, 6.54)
A(div_with_reset_3_1, Metal2, 8.21, -24.4, 3.8, 0.2, 1, 3, 0, 13.08)
R(div_with_reset_3_1, Metal2, [(-2.53,-34.13,13.33,-33.79), (4.44,-31.775,4.64,-31.51), (20.42,-31.775,20.62,-31.51), (20.42,-31.775,20.62,-31.51), (4.44,-31.71,7.3,-31.51), (7.3,-31.71,7.5,-31.17), (20.42,-31.71,23.28,-31.51), (20.42,-31.71,23.28,-31.51), (23.28,-31.71,23.48,-31.17), (23.28,-31.71,23.48,-31.17), (7.3,-31.37,10.93,-31.17), (23.28,-31.37,26.91,-31.17), (23.28,-31.37,26.91,-31.17), (10.41,-27.6,24.155,-27.4), (8.21,-24.4,12.01,-24.2), (-4.085,-21.06,24.15,-20.86), (4.44,-18.695,4.64,-18.43), (4.44,-18.695,4.64,-18.43), (20.42,-18.695,20.62,-18.43), (20.42,-18.695,20.62,-18.43), (4.44,-18.63,7.3,-18.43), (4.44,-18.63,7.3,-18.43), (7.3,-18.63,7.5,-18.09), (7.3,-18.63,7.5,-18.09), (20.42,-18.63,23.28,-18.43), (20.42,-18.63,23.28,-18.43), (23.28,-18.63,23.48,-18.09), (23.28,-18.63,23.48,-18.09), (7.3,-18.29,10.93,-18.09), (7.3,-18.29,10.93,-18.09), (23.28,-18.29,26.91,-18.09), (23.28,-18.29,26.91,-18.09), (10.41,-14.52,24.155,-14.32), (4.44,-5.615,4.64,-5.35), (20.42,-5.615,20.62,-5.35), (4.44,-5.55,7.3,-5.35), (7.3,-5.55,7.5,-5.01), (20.42,-5.55,23.28,-5.35), (23.28,-5.55,23.48,-5.01), (7.3,-5.21,10.93,-5.01), (23.28,-5.21,26.91,-5.01), (10.41,-1.44,24.15,-1.24), (-2.53,5.03,13.33,5.37)])
A(div_with_reset_3_1, Metal2_pin, 27.31, -30.79, 0.19, 0.18, 1, 3, 0, 13.08)
R(div_with_reset_3_1, Metal2_pin, [(23.87,-27.59,24.06,-27.41), (23.95,-14.51,24.14,-14.33), (23.93,-1.42,24.12,-1.24)])
A(div_with_reset_3_1, Metal3, 10.655, -28.87, 0.2, 1.47, 1, 3, 0, 13.08)
R(div_with_reset_3_1, Metal3, [(-2.885,-34.13,-2.475,-31.18), (13.095,-34.13,13.505,-31.05), (13.095,-27.49,13.505,-4.73), (-2.885,-25.43,-2.475,-4.65), (-4.085,-23.36,-3.675,-20.86), (23.74,-21.05,24.15,-16.56), (-4.085,-10.28,-3.675,-7.78), (23.74,-7.97,24.15,-3.48), (13.095,1.5,13.505,5.29), (-2.885,1.53,-2.475,5.3)])
R(div_with_reset_3_1, Metal3_pin, [(-3.95,0.55,-3.9,0.6), (13.11,4.69,13.23,4.81)])
div_with_reset_3_1.add(gdstk.Reference(ntap1_38_2, (7.67,4.81)))
div_with_reset_3_1.add(gdstk.Reference(ntap1_38_2, (11.07,-8.27)))
div_with_reset_3_1.add(gdstk.Reference(ptap1_8_3, (11.08,-1.73)))
div_with_reset_3_1.add(gdstk.Reference(d_flip_flop_reset_1_1, (0,0)))
div_with_reset_3_1.add(gdstk.Reference(d_flip_flop_reset_1_1, (15.98,0)))
div_with_reset_3_1.add(gdstk.Reference(d_flip_flop_reset_1_1, (0,-13.08)))
div_with_reset_3_1.add(gdstk.Reference(ntap1_38_2, (11.07,-21.35)))
div_with_reset_3_1.add(gdstk.Reference(ntap1_38_2, (7.67,-8.27)))
div_with_reset_3_1.add(gdstk.Reference(ptap1_8_3, (11.08,-14.81)))
div_with_reset_3_1.add(gdstk.Reference(ntap1_38_2, (11.07,-21.35)))
div_with_reset_3_1.add(gdstk.Reference(ntap1_38_2, (11.07,-34.43)))
div_with_reset_3_1.add(gdstk.Reference(ntap1_38_2, (7.67,-21.35)))
div_with_reset_3_1.add(gdstk.Reference(ptap1_8_3, (11.08,-27.89)))
div_with_reset_3_1.add(gdstk.Reference(d_flip_flop_reset_1_1, (15.98,-13.08)))
div_with_reset_3_1.add(gdstk.Reference(d_flip_flop_reset_1_1, (0,-26.16)))
div_with_reset_3_1.add(gdstk.Reference(d_flip_flop_reset_1_1, (15.98,-26.16)))
div_with_reset_3_1.add(gdstk.Reference(via_22_1_1, (26.81,-5.36)))
div_with_reset_3_1.add(gdstk.Reference(via_22_1_1, (10.83,-5.36)))
div_with_reset_3_1.add(gdstk.Reference(via_22_1_1, (12.11,1.79)))
div_with_reset_3_1.add(gdstk.Reference(via_22_1_1, (12.11,-11.29)))
div_with_reset_3_1.add(gdstk.Reference(via_22_1_1, (12.11,-24.37)))
div_with_reset_3_1.add(gdstk.Reference(via_25_1_1, (23.94,-7.88)))
div_with_reset_3_1.add(gdstk.Reference(via_25_1_1, (-3.88,-7.88)))
div_with_reset_3_1.add(gdstk.Reference(ntap1_38_2, (11.07,-21.35)))
div_with_reset_3_1.add(gdstk.Reference(ptap1_8_3, (11.08,-14.81)))
div_with_reset_3_1.add(gdstk.Reference(ntap1_38_2, (7.67,-21.35)))
div_with_reset_3_1.add(gdstk.Reference(via_22_1_1, (26.81,-18.44)))
div_with_reset_3_1.add(gdstk.Reference(via_22_1_1, (10.83,-18.44)))
div_with_reset_3_1.add(gdstk.Reference(via_22_1_1, (12.11,-24.37)))
div_with_reset_3_1.add(gdstk.Reference(via_25_1_1, (23.94,-20.96)))
div_with_reset_3_1.add(gdstk.Reference(via_25_1_1, (-3.88,-20.96)))
div_with_reset_3_1.add(gdstk.Reference(via_25_1_1, (10.76,-1.34)))
div_with_reset_3_1.add(gdstk.Reference(ptap1_8_3, (11.08,-14.81)))
div_with_reset_3_1.add(gdstk.Reference(via_25_1_1, (10.76,-14.42)))
div_with_reset_3_1.add(gdstk.Reference(ptap1_8_3, (11.08,-27.89)))
div_with_reset_3_1.add(gdstk.Reference(via_22_1_1, (26.81,-31.52)))
div_with_reset_3_1.add(gdstk.Reference(via_22_1_1, (10.83,-31.52)))
div_with_reset_3_1.add(gdstk.Reference(via_25_1_1, (10.76,-27.5)))
div_with_reset_3_1.add(gdstk.Reference(via_25_1_1, (-2.53,5.19)))
div_with_reset_3_1.add(gdstk.Reference(via_25_1_1, (13.15,5.19)))
div_with_reset_3_1.add(gdstk.Reference(via_25_1_1, (-2.53,-33.97)))
div_with_reset_3_1.add(gdstk.Reference(via_25_1_1, (13.15,-33.97)))
div_with_reset_3_1.add(gdstk.Label('vp', (11.355,5.25), layer=8, texttype=2))
div_with_reset_3_1.add(gdstk.Label('gd', (11.73,-1.34), layer=8, texttype=2))
div_with_reset_3_1.add(gdstk.Label('vp', (11.355,-7.93), layer=8, texttype=2))
div_with_reset_3_1.add(gdstk.Label('vp', (11.355,-20.93), layer=8, texttype=2))
div_with_reset_3_1.add(gdstk.Label('vp', (11.355,-34.04), layer=8, texttype=2))
div_with_reset_3_1.add(gdstk.Label('gd', (11.73,-14.41), layer=8, texttype=2))
div_with_reset_3_1.add(gdstk.Label('gd', (11.73,-27.46), layer=8, texttype=2))
div_with_reset_3_1.add(gdstk.Label('div2', (23.986,-1.354), layer=10, texttype=2))
div_with_reset_3_1.add(gdstk.Label('div8', (24.04,-14.43), layer=10, texttype=2))
div_with_reset_3_1.add(gdstk.Label('div32', (23.96,-27.51), layer=10, texttype=2))
div_with_reset_3_1.add(gdstk.Label('div4', (27.4,-4.55), layer=10, texttype=2))
div_with_reset_3_1.add(gdstk.Label('div16', (27.4,-17.63), layer=10, texttype=2))
div_with_reset_3_1.add(gdstk.Label('div64', (27.4,-30.71), layer=10, texttype=2))
div_with_reset_3_1.add(gdstk.Label('in', (-3.925,0.575), layer=30, texttype=2))
div_with_reset_3_1.add(gdstk.Label('reset', (13.17,4.75), layer=30, texttype=2))

lib.write_gds('div_with_reset_3_1.gds')
